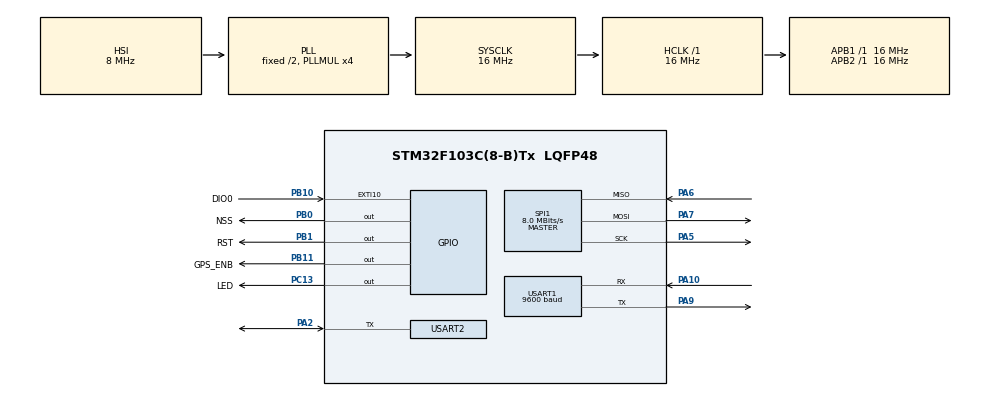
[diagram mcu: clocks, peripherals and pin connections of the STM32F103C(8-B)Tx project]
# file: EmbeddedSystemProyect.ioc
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Mcu.Family=STM32F1
Mcu.Name=STM32F103C(8-B)Tx
Mcu.Package=LQFP48
NVIC.EXTI15_10_IRQn=true\:0\:0\:false\:false\:true\:true\:true\:true
NVIC.PriorityGroup=NVIC_PRIORITYGROUP_4
NVIC.USART1_IRQn=true\:0\:0\:false\:false\:true\:true\:true\:true
PA10.Mode=Asynchronous
PA10.Signal=USART1_RX
PA13.Mode=Serial_Wire
PA13.Signal=SYS_JTMS-SWDIO
PA14.Mode=Serial_Wire
PA14.Signal=SYS_JTCK-SWCLK
PA2.Mode=Half_duplex(single_wire_mode)
PA2.Signal=USART2_TX
PA5.Mode=Full_Duplex_Master
PA5.Signal=SPI1_SCK
PA6.Mode=Full_Duplex_Master
PA6.Signal=SPI1_MISO
PA7.Mode=Full_Duplex_Master
PA7.Signal=SPI1_MOSI
PA9.Mode=Asynchronous
PA9.Signal=USART1_TX
PB0.GPIO_Label=NSS
PB0.GPIO_Speed=GPIO_SPEED_FREQ_HIGH
PB0.Signal=GPIO_Output
PB1.GPIO_Label=RST
PB1.GPIO_Speed=GPIO_SPEED_FREQ_HIGH
PB1.Signal=GPIO_Output
PB10.GPIO_Label=DIO0
PB10.Signal=GPXTI10
PB11.GPIO_Label=GPS_ENB
PB11.GPIO_ModeDefaultOutputPP=GPIO_MODE_OUTPUT_PP
PB11.GPIO_PuPd=GPIO_NOPULL
PB11.PinState=GPIO_PIN_SET
PB11.Signal=GPIO_Output
PC13-TAMPER-RTC.GPIO_Label=LED
PC13-TAMPER-RTC.Signal=GPIO_Output
PD0-OSC_IN.Mode=HSE-External-Oscillator
PD0-OSC_IN.Signal=RCC_OSC_IN
PD1-OSC_OUT.Mode=HSE-External-Oscillator
PD1-OSC_OUT.Signal=RCC_OSC_OUT
ProjectManager.HeapSize=0x200
ProjectManager.StackSize=0x400
ProjectManager.TargetToolchain=STM32CubeIDE
RCC.AHBFreq_Value=16000000
RCC.APB1Freq_Value=16000000
RCC.APB1TimFreq_Value=16000000
RCC.APB2Freq_Value=16000000
RCC.APB2TimFreq_Value=16000000
RCC.HCLKFreq_Value=16000000
RCC.PLLMUL=RCC_PLL_MUL4
RCC.SYSCLKFreq_VALUE=16000000
RCC.SYSCLKSource=RCC_SYSCLKSOURCE_PLLCLK
RCC.USBFreq_Value=16000000
SPI1.BaudRatePrescaler=SPI_BAUDRATEPRESCALER_2
SPI1.CalculateBaudRate=8.0 MBits/s
SPI1.Direction=SPI_DIRECTION_2LINES
SPI1.Mode=SPI_MODE_MASTER
SPI1.VirtualType=VM_MASTER
USART1.BaudRate=9600
USART1.VirtualMode=VM_ASYNC
USART2.VirtualMode=VM_ASYNC
board=custom

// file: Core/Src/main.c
/* USER CODE BEGIN Header */
/**
  ******************************************************************************
  * @file           : main.c
  * @brief          : Main program body
  ******************************************************************************
  * @attention
  *
  * Copyright (c) 2026 STMicroelectronics.
  * All rights reserved.
  *
  * This software is licensed under terms that can be found in the LICENSE file
  * in the root directory of this software component.
  * If no LICENSE file comes with this software, it is provided AS-IS.
  *
  ******************************************************************************
  */
/* USER CODE END Header */
#include "main.h"
#include "spi.h"
#include "usart.h"
#include "gpio.h"

/* USER CODE BEGIN Includes */
#include <string.h>
#include <stdio.h>
#include "gps.h"
#include "service_temp.h"
#include "LoRa.h"
#include "node_tx.h"

/* USER CODE END Includes */

/* USER CODE BEGIN PV */
extern UART_HandleTypeDef huart2;
extern node_proto_cfg_t s_cfg;
LoRa myLoRa;
uint16_t LoRa_stat=0;
temp_sample_t s;
/* USER CODE END PV */

void SystemClock_Config(void);

int main(void)
{

  /* MCU Configuration--------------------------------------------------------*/

  /* Reset of all peripherals, Initializes the Flash interface and the Systick. */
  HAL_Init();

  /* Configure the system clock */
  SystemClock_Config();

  /* Initialize all configured peripherals */
  MX_GPIO_Init();
  MX_USART1_UART_Init();
  MX_USART2_UART_Init();
  MX_SPI1_Init();
  /* USER CODE BEGIN 2 */
  GPS_Init();
  TempService_Init(&huart2, DS18B20_RES_10BIT);
  NodeProto_Init(&s_cfg);

	 myLoRa=newLoRa();

	  myLoRa.CS_port         = NSS_GPIO_Port;
	  myLoRa.CS_pin          = NSS_Pin;
	  myLoRa.reset_port      = RST_GPIO_Port;
	  myLoRa.reset_pin       = RST_Pin;
	  myLoRa.DIO0_port       = DIO0_GPIO_Port;
	  myLoRa.DIO0_pin        = DIO0_Pin;
	  myLoRa.hSPIx           = &hspi1;

	HAL_Delay(50);

	LoRa_stat = 0;
	for (int i = 0; i < 1; i++) {
	    if (LoRa_init(&myLoRa) == LORA_OK) { LoRa_stat = 1; break; }
	    HAL_Delay(50);
	}

   if (LoRa_stat != 1){
	   while(1){

	   }
   }

  /* USER CODE END 2 */

  /* Infinite loop */
  while (1)
  {

    /* USER CODE BEGIN 3 */

	  uint16_t batt_mV = 0;          // si no tenés medición todavía, dejalo 0
	  uint16_t extra_err = 0;        // acá podés OR-ear ERR_GPS_CFG, etc.

	  if (NodeProto_SendData(&myLoRa, batt_mV, extra_err, 1000)) {
	      HAL_GPIO_TogglePin(GPIOC, LED_Pin);
	  } else {
	      // opcional: mandar un ERR con texto
	      // NodeProto_SendErrText(&myLoRa, ERR_LORA_TX_TIMEOUT, "TX timeout", 10, 1000);
	  }
	  HAL_Delay(1500);
	//TempService_ReadOnce_Blocking(&s);

  }
  /* USER CODE END 3 */
}

void SystemClock_Config(void)
{
  RCC_OscInitTypeDef RCC_OscInitStruct = {0};
  RCC_ClkInitTypeDef RCC_ClkInitStruct = {0};

  /** Initializes the RCC Oscillators according to the specified parameters
  * in the RCC_OscInitTypeDef structure.
  */
  RCC_OscInitStruct.OscillatorType = RCC_OSCILLATORTYPE_HSI;
  RCC_OscInitStruct.HSIState = RCC_HSI_ON;
  RCC_OscInitStruct.HSICalibrationValue = RCC_HSICALIBRATION_DEFAULT;
  RCC_OscInitStruct.PLL.PLLState = RCC_PLL_ON;
  RCC_OscInitStruct.PLL.PLLSource = RCC_PLLSOURCE_HSI_DIV2;
  RCC_OscInitStruct.PLL.PLLMUL = RCC_PLL_MUL4;
  if (HAL_RCC_OscConfig(&RCC_OscInitStruct) != HAL_OK)
  {
    Error_Handler();
  }

  /** Initializes the CPU, AHB and APB buses clocks
  */
  RCC_ClkInitStruct.ClockType = RCC_CLOCKTYPE_HCLK|RCC_CLOCKTYPE_SYSCLK
                              |RCC_CLOCKTYPE_PCLK1|RCC_CLOCKTYPE_PCLK2;
  RCC_ClkInitStruct.SYSCLKSource = RCC_SYSCLKSOURCE_PLLCLK;
  RCC_ClkInitStruct.AHBCLKDivider = RCC_SYSCLK_DIV1;
  RCC_ClkInitStruct.APB1CLKDivider = RCC_HCLK_DIV1;
  RCC_ClkInitStruct.APB2CLKDivider = RCC_HCLK_DIV1;

  if (HAL_RCC_ClockConfig(&RCC_ClkInitStruct, FLASH_LATENCY_0) != HAL_OK)
  {
    Error_Handler();
  }
}

/* USER CODE BEGIN 4 */
/* USER CODE BEGIN 0 */
void HAL_UART_RxCpltCallback(UART_HandleTypeDef *huart)
{
	if(huart == &huart1) GPS_UART_CallBack();
}

void HAL_GPIO_EXTI_Callback(uint16_t GPIO_Pin){
	//si se recibe una interrupcion del pin dio0, es que llego un mensaje
	//lo guardo en el buffer y activo la flag para decodificarlo.
	if (GPIO_Pin==DIO0_Pin){
		//LoRa_receive(&myLoRa,RxBuffer,sizeof(Mytrama));
		//FlagRecibir=1;
	}

}

/* USER CODE END 0 */
/* USER CODE END 4 */

void Error_Handler(void)
{
  __disable_irq();
  while (1)
  {
  }
}
